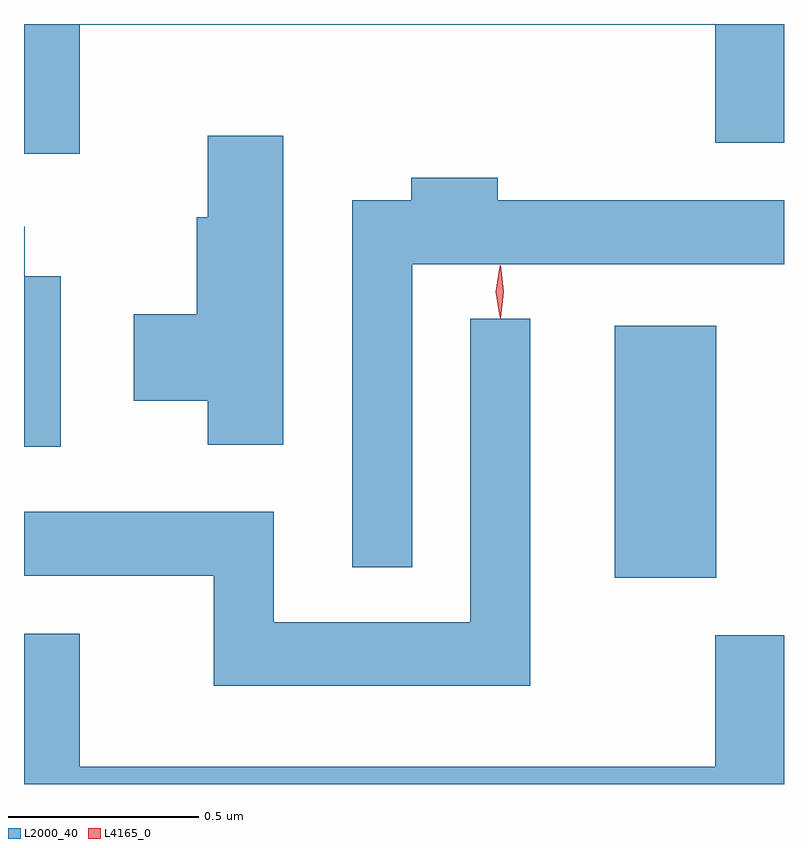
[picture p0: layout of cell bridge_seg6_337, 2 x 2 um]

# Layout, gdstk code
import gdstk
lib = gdstk.Library(unit=1e-6, precision=1e-09)
def R(c, l, rs):  # rectangles x0, y0, x1, y1
    for r in rs: c.add(gdstk.rectangle(r[:2], r[2:], *l))
def P(c, l, *ps):  # polygons
    for p in ps: c.add(gdstk.Polygon(p, *l))
L2000_40 = (2000, 40)
L4165_0 = (4165, 0)

bridge_seg6_337 = lib.new_cell('bridge_seg6_337')
R(bridge_seg6_337, L2000_40, [(1316.746,1559.681,1317.014,1560.344)])
P(bridge_seg6_337, L2000_40, [(1315.339,1561.136),(1317.011,1561.136),(1317.011,1560.826),(1317.192,1560.826),(1317.192,1561.138),(1315.192,1561.138),(1315.192,1560.796),(1315.339,1560.796)],
  [(1315.874,1560.844),(1315.676,1560.844),(1315.676,1560.629),(1315.646,1560.629),(1315.646,1560.374),(1315.481,1560.374),(1315.481,1560.146),(1315.676,1560.146),(1315.676,1560.031),(1315.874,1560.031)],
  [(1316.214,1560.506),(1317.192,1560.506),(1317.192,1560.674),(1316.439,1560.674),(1316.439,1560.734),(1316.211,1560.734),(1316.211,1560.674),(1316.056,1560.674),(1316.056,1559.708),(1316.214,1559.708)],
  [(1315.289,1560.474),(1315.194,1560.474),(1315.194,1560.604),(1315.192,1560.604),(1315.192,1560.026),(1315.289,1560.026)],
  [(1316.524,1560.363),(1316.366,1560.363),(1316.366,1559.564),(1315.849,1559.564),(1315.849,1559.854),(1315.192,1559.854),(1315.192,1559.686),(1315.691,1559.686),(1315.691,1559.396),(1316.524,1559.396)],
  [(1317.192,1559.529),(1317.011,1559.529),(1317.011,1559.184),(1315.339,1559.184),(1315.339,1559.534),(1315.192,1559.534),(1315.192,1559.138),(1317.192,1559.138)])
P(bridge_seg6_337, L4165_0, [(1316.445,1560.364),(1316.445,1560.364),(1316.435,1560.434),(1316.445,1560.503),(1316.445,1560.503),(1316.446,1560.503),(1316.455,1560.434),(1316.446,1560.364)],
  [(1316.444,1560.367),(1316.444,1560.368),(1316.434,1560.434),(1316.444,1560.5),(1316.444,1560.5),(1316.444,1560.5),(1316.454,1560.434),(1316.445,1560.368)])

lib.write_gds('bridge_seg6_337.gds')
